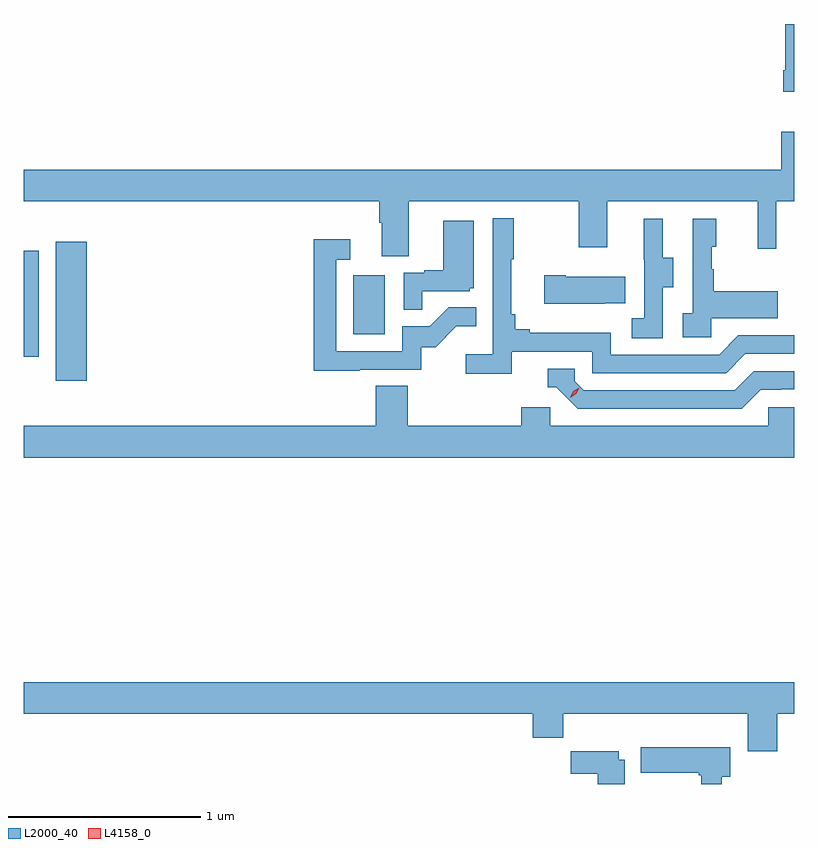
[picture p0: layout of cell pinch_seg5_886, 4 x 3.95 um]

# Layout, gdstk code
import gdstk
lib = gdstk.Library(unit=1e-6, precision=1e-09)
def R(c, l, rs):  # rectangles x0, y0, x1, y1
    for r in rs: c.add(gdstk.rectangle(r[:2], r[2:], *l))
def P(c, l, *ps):  # polygons
    for p in ps: c.add(gdstk.Polygon(p, *l))
L2000_40 = (2000, 40)
L4158_0 = (4158, 0)

pinch_seg5_886 = lib.new_cell('pinch_seg5_886')
R(pinch_seg5_886, L2000_40, [(873.953,890.46,874.114,891.181), (873.787,890.583,873.864,891.134), (875.498,890.7,875.662,891.007)])
P(pinch_seg5_886, L2000_40, [(877.787,892.312),(877.742,892.312),(877.742,892.072),(877.73,892.072),(877.73,891.96),(877.787,891.96)],
  [(875.785,891.392),(876.67,891.392),(876.67,891.153),(876.817,891.153),(876.817,891.392),(877.598,891.392),(877.598,891.144),(877.695,891.144),(877.695,891.392),(877.787,891.392),(877.787,891.751),(877.721,891.751),(877.721,891.556),(873.787,891.556),(873.787,891.392),(875.633,891.392),(875.633,891.28),(875.645,891.28),(875.645,891.106),(875.785,891.106)],
  [(876.32,890.61),(876.738,890.61),(876.738,890.499),(877.435,890.499),(877.534,890.598),(877.787,890.598),(877.787,890.694),(877.497,890.694),(877.398,890.595),(876.834,890.595),(876.834,890.707),(876.415,890.707),(876.415,890.726),(876.338,890.726),(876.338,890.803),(876.319,890.803),(876.319,891.091),(876.331,891.091),(876.331,891.304),(876.222,891.304),(876.222,890.596),(876.081,890.596),(876.081,890.494),(876.32,890.494)],
  [(877.356,890.783),(877.703,890.783),(877.703,890.923),(877.369,890.923),(877.369,891.038),(877.359,891.038),(877.359,891.156),(877.384,891.156),(877.384,891.301),(877.26,891.301),(877.26,890.81),(877.209,890.81),(877.209,890.685),(877.356,890.685)],
  [(877.104,890.944),(877.159,890.944),(877.159,891.099),(877.105,891.099),(877.105,891.301),(877.007,891.301),(877.007,891.087),(877.008,891.087),(877.008,890.783),(876.945,890.783),(876.945,890.68),(877.104,890.68)],
  [(875.855,890.925),(876.102,890.925),(876.102,890.94),(876.124,890.94),(876.124,891.289),(875.966,891.289),(875.966,891.034),(875.867,891.034),(875.867,891.021),(875.76,891.021),(875.76,890.827),(875.855,890.827)],
  [(875.531,890.517),(875.85,890.517),(875.85,890.634),(875.926,890.634),(876.033,890.741),(876.137,890.741),(876.137,890.84),(875.993,890.84),(875.895,890.742),(875.751,890.742),(875.751,890.613),(875.409,890.613),(875.409,891.087),(875.482,891.087),(875.482,891.193),(875.293,891.193),(875.293,890.512),(875.531,890.512)],
  [(876.803,890.861),(876.911,890.861),(876.911,890.998),(876.601,890.998),(876.601,891.006),(876.489,891.006),(876.489,890.858),(876.803,890.858)],
  [(877.615,890.412),(877.722,890.412),(877.722,890.415),(877.787,890.415),(877.787,890.508),(877.578,890.508),(877.479,890.409),(876.696,890.409),(876.648,890.457),(876.648,890.52),(876.509,890.52),(876.509,890.424),(876.552,890.424),(876.663,890.313),(877.516,890.313)],
  [(877.787,890.322),(877.653,890.322),(877.653,890.224),(876.522,890.224),(876.522,890.322),(876.371,890.322),(876.371,890.224),(875.78,890.224),(875.78,890.432),(875.615,890.432),(875.615,890.224),(873.787,890.224),(873.787,890.06),(877.787,890.06)],
  [(877.7,888.728),(877.787,888.728),(877.787,888.892),(873.787,888.892),(873.787,888.728),(876.431,888.728),(876.431,888.604),(876.587,888.604),(876.587,888.728),(877.547,888.728),(877.547,888.534),(877.7,888.534)],
  [(877.411,888.402),(877.456,888.402),(877.456,888.556),(876.992,888.556),(876.992,888.422),(877.291,888.422),(877.291,888.409),(877.304,888.409),(877.304,888.364),(877.411,888.364)],
  [(876.907,888.49),(876.877,888.49),(876.877,888.535),(876.628,888.535),(876.628,888.416),(876.767,888.416),(876.767,888.364),(876.907,888.364)])
P(pinch_seg5_886, L4158_0, [(876.624,890.371),(876.624,890.372),(876.641,890.404),(876.671,890.423),(876.672,890.423),(876.672,890.423),(876.656,890.391),(876.625,890.371)])

lib.write_gds('pinch_seg5_886.gds')
